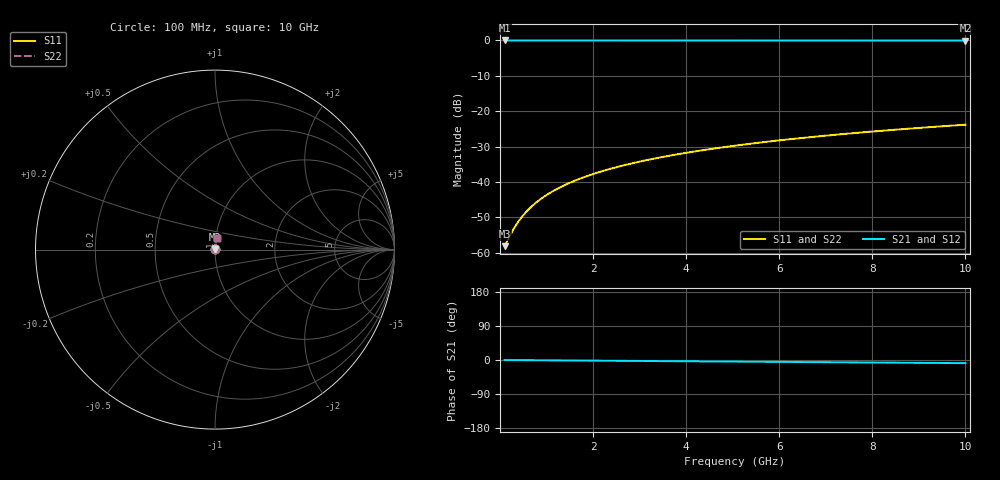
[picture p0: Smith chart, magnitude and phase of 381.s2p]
# Hz S RI R 50.00
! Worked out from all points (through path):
!   100 points, 100 MHz to 10 GHz, reference 50 ohm
!   highest |S21| = -0.01 dB at 100 MHz (marker M1); lowest = 0.0 dB at 10 GHz (marker M2)
!   group delay of S21, straight-line fit = 2.3 ps
!   lowest |S11| = -58.1 dB at 100 MHz (marker M3), VSWR 1.00, Z = 50.1 + j0.0646 ohm
!   |S11| at or under -10 dB: start of sweep to end of sweep
!   |S22| runs from -58.1 to -23.8 dB; largest |S21 - S12| = 0
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1e8  0.00106 0.000645  0.9989 -0.00144  0.9989 -0.00144  0.00106 0.000645
2e8  0.00107 0.00129  0.9989 -0.00287  0.9989 -0.00287  0.00107 0.00129
3e8  0.00108 0.00193  0.9989 -0.00431  0.9989 -0.00431  0.00108 0.00193
4e8  0.00109 0.00258  0.9989 -0.00575  0.9989 -0.00575  0.00109 0.00258
5e8  0.00111 0.00322  0.9989 -0.00719  0.9989 -0.00719  0.00111 0.00322
6e8  0.00112 0.00387  0.9989 -0.00862  0.9989 -0.00862  0.00112 0.00387
7e8  0.00113 0.00451  0.9988 -0.0101  0.9988 -0.0101  0.00113 0.00451
9e8  0.00117 0.0058  0.9988 -0.0129  0.9988 -0.0129  0.00117 0.0058
1e9  0.00119 0.00645  0.9988 -0.0144  0.9988 -0.0144  0.00119 0.00645
1.2e9  0.00123 0.00774  0.9987 -0.0172  0.9987 -0.0172  0.00123 0.00774
1.5e9  0.00131 0.00967  0.9986 -0.0216  0.9986 -0.0216  0.00131 0.00967
1.8e9  0.00141 0.0116  0.9985 -0.0259  0.9985 -0.0259  0.00141 0.0116
2.1e9  0.00152 0.0135  0.9983 -0.0302  0.9983 -0.0302  0.00152 0.0135
2.5e9  0.00169 0.0161  0.9981 -0.0359  0.9981 -0.0359  0.00169 0.0161
2.9e9  0.0019 0.0187  0.9978 -0.0417  0.9978 -0.0417  0.0019 0.0187
3.4e9  0.0022 0.0219  0.9974 -0.0489  0.9974 -0.0489  0.0022 0.0219
4.2e9  0.00277 0.027  0.9966 -0.0603  0.9966 -0.0603  0.00277 0.027
5.1e9  0.00355 0.0328  0.9956 -0.0733  0.9956 -0.0733  0.00355 0.0328
5.9e9  0.00437 0.0379  0.9945 -0.0847  0.9945 -0.0847  0.00437 0.0379
6.7e9  0.00531 0.043  0.9932 -0.0962  0.9932 -0.0962  0.00531 0.043
8.4e9  0.0077 0.0537  0.99 -0.1205  0.99 -0.1205  0.0077 0.0537
1e10  0.0104 0.0637  0.9863 -0.1433  0.9863 -0.1433  0.0104 0.0637
